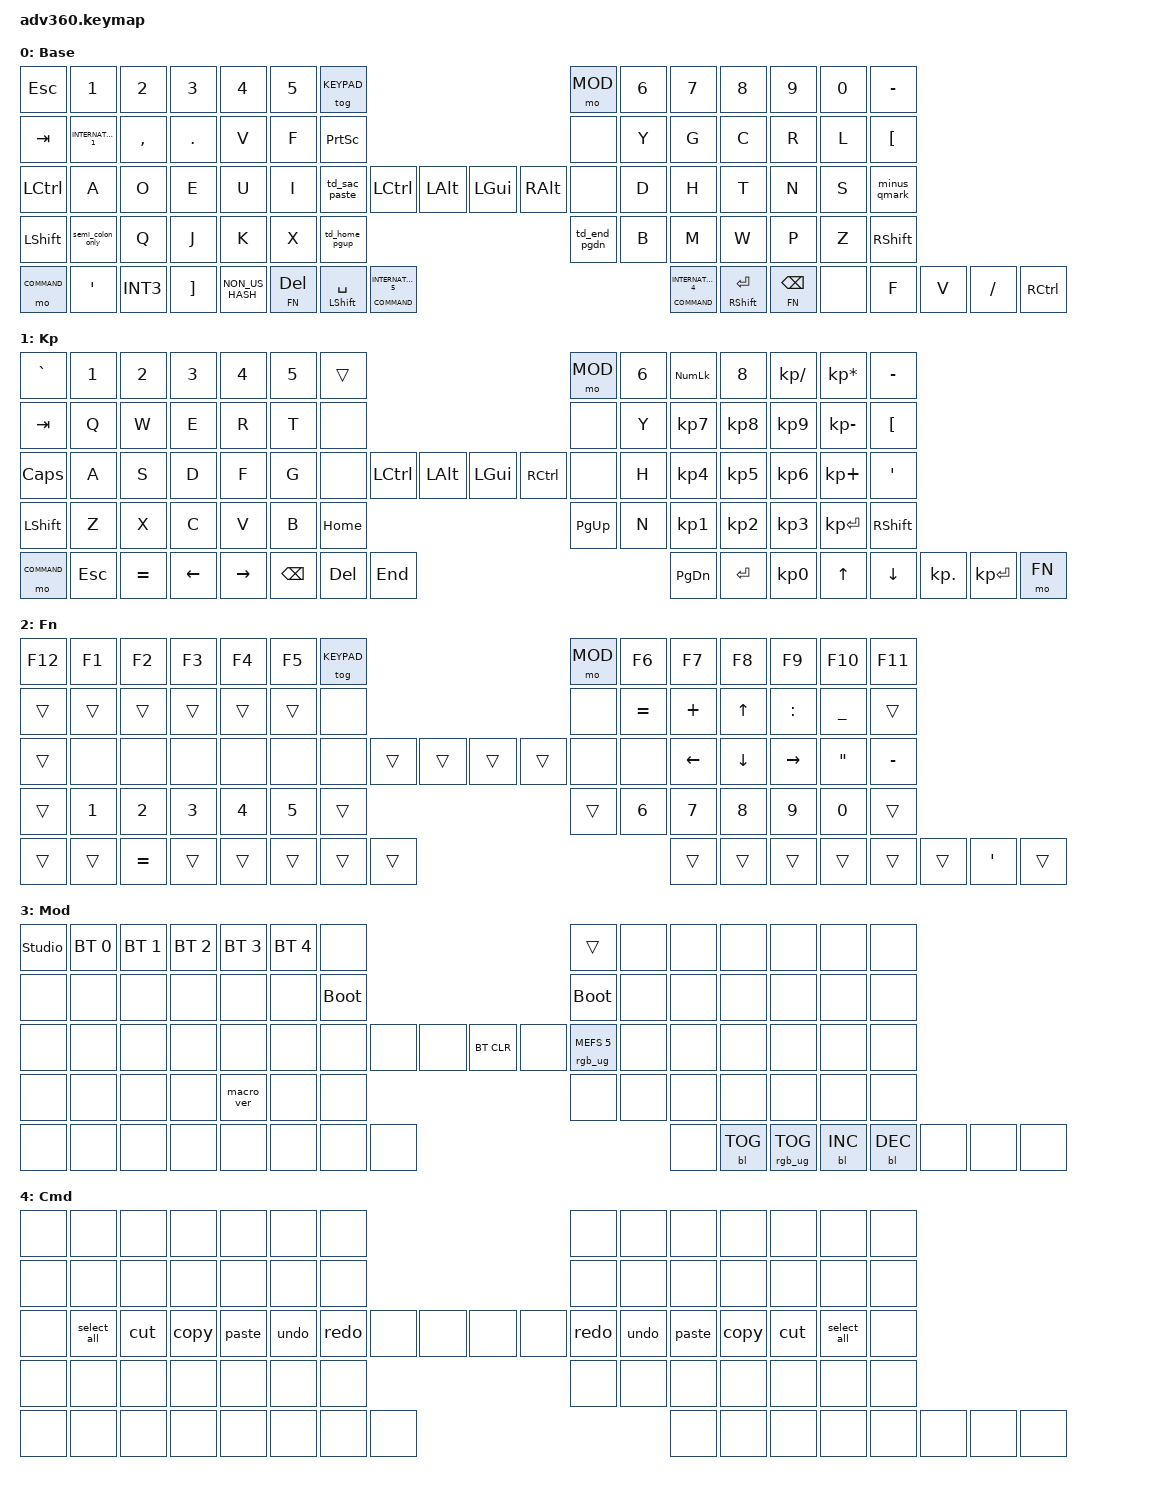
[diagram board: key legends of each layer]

/*
 * Copyright (c) 2020 The ZMK Contributors
 *
 * SPDX-License-Identifier: MIT
 */

#include <behaviors.dtsi>
#include <dt-bindings/zmk/keys.h>
#include <dt-bindings/zmk/bt.h>
#include <dt-bindings/zmk/rgb.h>
#include <dt-bindings/zmk/stp.h>
#include <dt-bindings/zmk/backlight.h>
#include <dt-bindings/zmk/pointing.h>

// Definitions for Layers.
#define DEFAULT 0
#define KEYPAD 1
#define FN 2
#define MOD 3
#define COMMAND 4

// Definitions for homerow mods.
#define KEYS_LEFT  0  1  2  3  4  5  6 \
                  14 15 16 17 18 19 20 \
                  28 29 30 31 32 33 34 \
                  46 47 48 49 50 51    \
                  60 61 62 63 64

#define KEYS_RIGHT  7  8  9 10 11 12 13 \
                   21 22 23 24 25 26 27 \
                   39 40 41 42 43 44 45 \
                   54 55 56 57 58 59 \
                   71 72 73 74 75

#define THUMBS_LEFT     35 36 \
                           52 \
                     65 66 67 \

#define THUMBS_RIGHT 37 38    \
                     53       \
                     68 69 70 \

#define THUMBS THUMBS_LEFT THUMBS_RIGHT

// Spaceなどの連続入力をしたいケースがあるため追加。
// 200ms以内に2回タップするとlayer-tapにおける通常キー（レイヤーキー以外）の入力が有効になる。
// balanced にして、Fn + 矢印を素早く打ったときに BackSpace や Delete に化けるのを防ぐ。
// 親指を離す前に次のキーを押しただけなら、タップのまま扱われる。
&lt {
    tapping-term-ms = <200>;
    quick-tap-ms = <175>;
    flavor = "balanced";
};

&mt {
    tapping-term-ms = <200>;
};

/ {
    behaviors {
      #include "macros.dtsi"
      #include "version.dtsi"

      // homerow mods settings
      hm_l: homerow_mods_left {
          compatible = "zmk,behavior-hold-tap";
          label = "HOMEROW_MODS_LEFT";
          #binding-cells = <2>;
          tapping-term-ms = <175>;
          quick-tap-ms = <175>;
          flavor = "balanced";
          bindings = <&kp>, <&kp>;
          // 右半分と親指クラスターのみ、ホールドタップを有効にする。
          hold-trigger-key-positions = <KEYS_RIGHT THUMBS>;
      };

      hm_r: homerow_mods_right {
          compatible = "zmk,behavior-hold-tap";
          label = "HOMEROW_MODS_RIGHT";
          #binding-cells = <2>;
          tapping-term-ms = <175>;
          quick-tap-ms = <175>;
          flavor = "balanced";
          bindings = <&kp>, <&kp>;
          hold-trigger-key-positions = <KEYS_LEFT THUMBS>;
      };

      // 無変換・変換用。タップで IME のオン/オフ、長押しで COMMAND レイヤー。
      // balanced にして、IME を切り替えた直後の打ち始め（親指を離す前に次のキーを押す）を
      // 長押しと判定しにくくする。COMMAND に化けると全選択や貼り付けになり被害が大きいため。
      // retro-tap は、ほかのキーを押さずに 200ms を超えて押してから離したときに、タップとして扱う。
      // 少し長めに押しただけで IME のオン/オフが COMMAND に吸われるのを防ぐ。
      lt_cmd: layer_tap_command {
          compatible = "zmk,behavior-hold-tap";
          #binding-cells = <2>;
          tapping-term-ms = <200>;
          flavor = "balanced";
          retro-tap;
          bindings = <&mo>, <&kp>;
      };

      // tap-dance functions
      td_sac_paste: select_all_copy_and_paste {
          compatible = "zmk,behavior-tap-dance";
          #binding-cells = <0>;
          tapping-term-ms = <200>;
          bindings = <&sac>, <&kp LC(V)>;
      };
      td_home_pgup: home_pgup {
          compatible = "zmk,behavior-tap-dance";
          #binding-cells = <0>;
          tapping-term-ms = <150>;
          bindings = <&kp HOME>, <&kp PG_UP>;
      };
      td_end_pgdn: end_pgdn {
          compatible = "zmk,behavior-tap-dance";
          #binding-cells = <0>;
          tapping-term-ms = <150>;
          bindings = <&kp END>, <&kp PG_DN>;
      };

      // hold-tap functions
      SandS: space_and_shift {
          compatible = "zmk,behavior-hold-tap";
          label = "SPACE_AND_SHIFT";  // 分かりやすいようにこの名前にしているがSpace + Shift以外も可能。。
          #binding-cells = <2>;
          tapping-term-ms = <200>;
          quick-tap-ms = <200>;
          flavor = "hold-preferred";
          bindings = <&kp>, <&kp>;
          hold-trigger-key-positions = <KEYS_LEFT KEYS_RIGHT>;  // 親指クラスターには適用しない
      };

      // SKKでShift+子音を多用するため、意図せず Shift+; で別のシグナルが送られるのを防ぐ。
      // （Shift が押されていても素の ; を送る）
      semi_colon_only: semi_colon_only {
          compatible = "zmk,behavior-mod-morph";
          #binding-cells = <0>;
          bindings = <&kp SEMICOLON>, <&kp SEMICOLON>;
          mods = <(MOD_LSFT|MOD_RSFT)>;
      };

      // -/?
      // 長音の方がスラッシュよりも頻度が高い。-と?の組み合わせを作りたいので新たに定義。
      // 長音を Fn + FSLH で打つコンビネーションは 次のキーが Fn レイヤーになってしまう事故が頻発したので避けたい（t → 8 など）
      minus_qmark: minus_qmark {
          compatible = "zmk,behavior-mod-morph";
          #binding-cells = <0>;
          bindings = <&kp MINUS>, <&kp QMARK>;
          mods = <(MOD_LSFT|MOD_RSFT)>;
      };
    };

    macros {
      // Moved into macros.dtsi.
    };

    // combos {
    //    compatible = "zmk,combos";
    //    combo_esc {
    //        timeout-ms = <50>;
    //        key-positions = <0 1>;
    //        bindings = <&kp ESC>;
    //    };
    // };

// OS設定でJISレイアウトに設定されている場合、記号はZMKの定義通りに出力されないことがある。
// 以下定義と実際の出力の対応関係のメモ。
// - DQT(") -> *
// - AMPS(&) -> '
// - SQT(') -> :
// - LPAR(() -> )
// - RPAR()) -> 出力されない
// - AT(@) -> "
// - ASTRK(*) -> (
// - AMPS(&) -> '
// - EQUAL(=) -> ^
// - PLUS(+) -> ~
// - UNDERSCORE(-) -> =
// - BSLH(\) -> ]
// - PIPE(|) -> }
// - COLON(:) -> +
// - LBKT([) -> @/`
// - LBRC({) -> `
// - RBKT(]) -> [/{
// - RBRC(}) -> {
// - GRAVE(`) -> OEM固有（0xf3）
// - TILDE(~) -> OEM固有（0xf4）
// - TILDE2(~) -> }
// - CARET(^) -> &
// - MINUS(-) -> -/=
// - PIPE2(|) -> 出力されない
// - NUBS(\ and |) -> 出力されない
// - NUHS(# and ~) -> ]/}

// Base の左人差し指の上段にある V と F は、CorvusSKK の省略打ちの 2 打目として置いている。
// 変換表は物理キーの位置で 2 打目を決めている（Xv → Xうう、Xf → Xうい）。
// 文字として打つ V と F は、右手の一番下の段にある。
      keymap {
          compatible = "zmk,keymap";

        layer_default {
          display-name = "Base";

            bindings = <
                &kp ESCAPE  &kp N1              &kp N2    &kp N3            &kp N4          &kp N5 &tog KEYPAD                                                                                   &mo MOD          &kp N6   &kp N7   &kp N8   &kp N9 &kp N0    &kp MINUS
                &kp TAB     &kp INTERNATIONAL_1 &kp COMMA &kp PERIOD        &kp V           &kp F  &kp PRINTSCREEN                                                                              &none            &kp Y    &kp G    &kp C    &kp R  &kp L     &kp LEFT_BRACKET
                &kp LCTRL   &kp A               &kp O     &kp E             &kp U           &kp I  &td_sac_paste   &kp LCTRL          &kp LALT            &kp LGUI            &kp RALT           &none            &kp D   &kp H    &kp T    &kp N  &kp S     &minus_qmark
                &kp LSHFT   &semi_colon_only    &kp Q     &kp J             &kp K           &kp X                                     &td_home_pgup       &td_end_pgdn                                            &kp B    &kp M    &kp W    &kp P  &kp Z     &kp RSHFT
                &mo COMMAND &kp SINGLE_QUOTE    &kp INT3  &kp RIGHT_BRACKET &kp NON_US_HASH        &lt FN DEL      &SandS LSHFT SPACE &lt_cmd COMMAND INTERNATIONAL_5 &lt_cmd COMMAND INTERNATIONAL_4 &SandS RSHFT ENTER &lt FN BACKSPACE          &none    &kp F    &kp V  &kp FSLH  &kp RCTRL
            >;
        };

        layer_keypad {
          display-name = "Kp";

            bindings = <
                &kp GRAVE   &kp N1  &kp N2    &kp N3   &kp N4    &kp N5 &trans                                           &mo MOD   &kp N6  &kp KP_NUM &kp N8    &kp KP_DIVIDE &kp KP_MULTIPLY &kp MINUS
                &kp TAB     &kp Q   &kp W     &kp E    &kp R     &kp T  &none                                            &none     &kp Y   &kp KP_N7  &kp KP_N8 &kp KP_N9     &kp KP_MINUS    &kp LEFT_BRACKET
                &kp CAPS    &kp A   &kp S     &kp D    &kp F     &kp G  &none    &kp LCTRL &kp LALT &kp LGUI  &kp RCTRL  &none     &kp H   &kp KP_N4  &kp KP_N5 &kp KP_N6     &kp KP_PLUS     &kp SINGLE_QUOTE
                &kp LSHFT   &kp Z   &kp X     &kp C    &kp V     &kp B                     &kp HOME &kp PG_UP                      &kp N   &kp KP_N1  &kp KP_N2 &kp KP_N3     &kp KP_ENTER    &kp RSHFT
                &mo COMMAND &kp ESC &kp EQUAL &kp LEFT &kp RIGHT        &kp BSPC &kp DEL   &kp END  &kp PG_DN &kp ENTER  &kp KP_N0         &kp UP     &kp DOWN  &kp KP_DOT    &kp KP_ENTER    &mo FN
            >;
        };

        layer_fn {
          display-name = "Fn";

            bindings = <
                &kp F12  &kp F1  &kp F2    &kp F3    &kp F4     &kp F5             &tog KEYPAD                                             &mo MOD &kp F6     &kp F7   &kp F8    &kp F9    &kp F10        &kp F11
                &trans  &trans   &trans    &trans    &trans     &trans             &none                                                   &none   &kp EQUAL  &kp PLUS &kp UP    &kp COLON &kp UNDERSCORE &trans
                &trans  &none    &none     &none     &none      &none              &none  &trans  &trans                  &trans  &trans   &none   &none      &kp LEFT &kp DOWN  &kp RIGHT &kp DQT        &kp MINUS
                &trans  &kp N1   &kp N2    &kp N3    &kp N4     &kp N5                            &trans                  &trans                   &kp N6     &kp N7   &kp N8    &kp N9    &kp N0         &trans
                &trans  &trans   &kp EQUAL &trans    &trans                        &trans &trans  &trans                  &trans  &trans   &trans             &trans   &trans    &trans    &kp SQT        &trans
            >;
        };

        layer_mod {
          display-name = "Mod";

            bindings = <
                &studio_unlock &bt BT_SEL 0  &bt BT_SEL 1  &bt BT_SEL 2  &bt BT_SEL 3  &bt BT_SEL 4     &none                                                &trans                 &none       &none       &none       &none   &none   &none
                &none          &none         &none         &none         &none         &none            &bootloader                                          &bootloader            &none       &none       &none       &none   &none   &none
                &none          &none         &none         &none         &none         &none            &none       &none   &none     &bt BT_CLR  &none      &rgb_ug RGB_MEFS_CMD 5 &none       &none       &none       &none   &none   &none
                &none          &none         &none         &none         &macro_ver    &none                                &none     &none                                         &none       &none       &none       &none   &none   &none
                &none          &none         &none         &none         &none                          &none       &none   &none     &none       &bl BL_TOG &rgb_ug RGB_TOG                    &bl BL_INC  &bl BL_DEC  &none   &none   &none
            >;
        };

        layer_command {
          display-name = "Cmd";

            bindings = <
                &none    &none          &none    &none    &none            &none  &none                                        &none    &none    &none    &none    &none    &none    &none
                &none    &none          &none    &none    &none            &none  &none                                        &none    &none    &none    &none    &none    &none    &none
                &none    &select_all    &cut     &copy    &paste           &undo  &redo    &none    &none    &none    &none    &redo    &undo    &paste   &copy    &cut     &select_all &none
                &none    &none          &none    &none    &none            &none                    &none    &none                      &none    &none    &none    &none    &none    &none
                &none    &none          &none    &none    &none                   &none    &none    &none    &none    &none    &none             &none    &none    &none    &none    &none
            >;
        };

        extra1 {
          display-name = "Red";
          status = "reserved";
        };

        extra2 {
          display-name = "Purple";
          status = "reserved";
        };

        extra3 {
          display-name = "Cyan";
          status = "reserved";
        };

        extra4 {
          display-name = "Yellow";
          status = "reserved";
        };
    };
};
